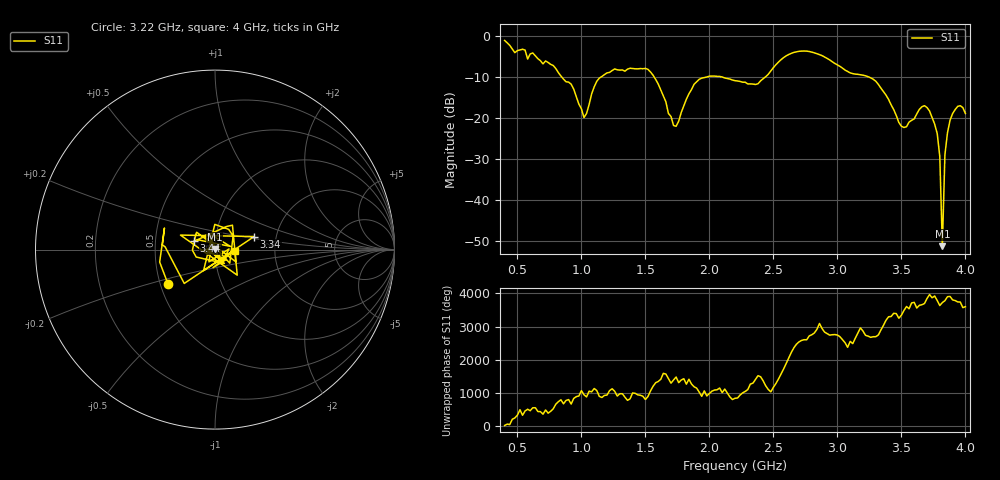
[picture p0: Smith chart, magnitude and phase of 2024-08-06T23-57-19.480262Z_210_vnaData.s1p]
!Created with skrf (http://scikit-rf.org).
# Hz S RI R 50.0
!freq ReS11 ImS11
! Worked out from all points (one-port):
!   181 points, 400 MHz to 4 GHz, reference 50 ohm
!   lowest |S11| = -51.2 dB at 3.82 GHz (marker M1), VSWR 1.01, Z = 49.9 + j0.237 ohm
!   |S11| at or under -10 dB: 1.567 GHz to 1.987 GHz (420.1 MHz wide, 23.6 % of centre); 2.089 GHz to 2.44 GHz (351.3 MHz wide, 15.5 % of centre); 3.239 GHz to end of sweep (the widest 3 of 4)
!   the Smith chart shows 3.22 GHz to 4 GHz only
!   S11 on the Smith chart (normalised r, x): 3.22 GHz: 0.55, -0.23; 3.34 GHz: 1.53, +0.24; 3.44 GHz: 0.79, +0.07; 4 GHz: 1.25, -0.02
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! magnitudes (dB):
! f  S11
! 400 MHz  -1.2
! 860 MHz  -10.6
! 920 MHz  -11.8
! 1.02 GHz  -19.9
! 1.12 GHz  -11.1
! 1.3 GHz  -8.4
! 1.52 GHz  -8.2
! 1.6 GHz  -11.8
! 1.72 GHz  -21.9
! 1.76 GHz  -20.8
! 1.92 GHz  -10.6
! 2.2 GHz  -11.0
! 2.38 GHz  -11.7
! 2.66 GHz  -4.1
! 3.1 GHz  -9.1
! 3.22 GHz  -9.8
! 3.34 GHz  -12.8
! 3.44 GHz  -18.0
! 3.5 GHz  -22.1
! 3.56 GHz  -21.0
! 3.68 GHz  -17.1
! 3.78 GHz  -23.8
! 3.8 GHz  -29.4
! 3.82 GHz  -51.2
! 3.84 GHz  -29.0
! 3.86 GHz  -23.6
! 3.94 GHz  -17.2
! 4 GHz  -18.9
